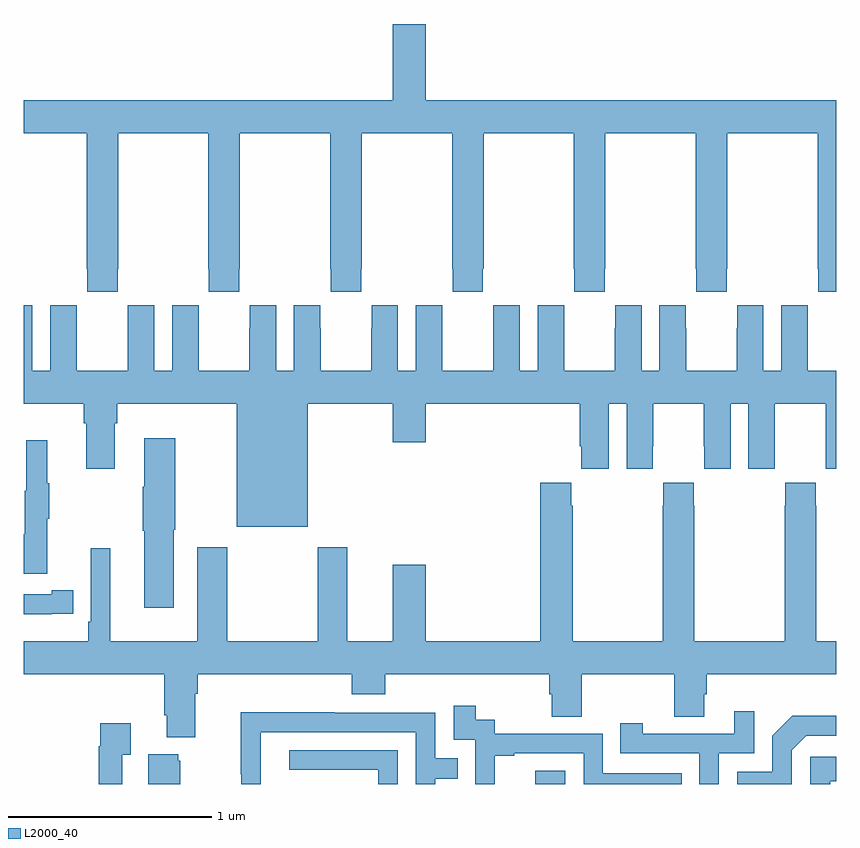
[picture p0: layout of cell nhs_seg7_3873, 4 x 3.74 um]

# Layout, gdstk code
import gdstk
lib = gdstk.Library(unit=1e-6, precision=1e-09)
def R(c, l, rs):  # rectangles x0, y0, x1, y1
    for r in rs: c.add(gdstk.rectangle(r[:2], r[2:], *l))
def P(c, l, *ps):  # polygons
    for p in ps: c.add(gdstk.Polygon(p, *l))
L2000_40 = (2000, 40)

nhs_seg7_3873 = lib.new_cell('nhs_seg7_3873')
R(nhs_seg7_3873, L2000_40, [(357.519,1076,357.666,1076.065)])
P(nhs_seg7_3873, L2000_40, [(355.461,1078.537),(355.464,1078.537),(355.464,1079.204),(355.909,1079.204),(355.909,1078.537),(355.911,1078.537),(355.911,1078.425),(356.061,1078.425),(356.061,1078.537),(356.064,1078.537),(356.064,1079.204),(356.509,1079.204),(356.509,1078.537),(356.511,1078.537),(356.511,1078.425),(356.661,1078.425),(356.661,1078.537),(356.664,1078.537),(356.664,1079.204),(357.109,1079.204),(357.109,1078.537),(357.111,1078.537),(357.111,1078.425),(357.261,1078.425),(357.261,1078.537),(357.264,1078.537),(357.264,1079.204),(357.709,1079.204),(357.709,1078.537),(357.711,1078.537),(357.711,1078.425),(357.861,1078.425),(357.861,1078.537),(357.864,1078.537),(357.864,1079.204),(358.309,1079.204),(358.309,1078.537),(358.311,1078.537),(358.311,1078.425),(358.461,1078.425),(358.461,1078.537),(358.464,1078.537),(358.464,1079.204),(358.909,1079.204),(358.909,1078.537),(358.911,1078.537),(358.911,1078.425),(359,1078.425),(359,1079.368),(356.98,1079.368),(356.98,1079.743),(356.816,1079.743),(356.816,1079.368),(355,1079.368),(355,1079.204),(355.309,1079.204),(355.309,1078.537),(355.311,1078.537),(355.311,1078.425),(355.461,1078.425)],
  [(356.398,1077.872),(356.816,1077.872),(356.816,1077.684),(356.98,1077.684),(356.98,1077.872),(357.737,1077.872),(357.737,1077.664),(357.746,1077.664),(357.746,1077.552),(357.88,1077.552),(357.88,1077.872),(357.968,1077.872),(357.968,1077.552),(358.098,1077.552),(358.098,1077.664),(358.099,1077.664),(358.099,1077.872),(358.349,1077.872),(358.349,1077.664),(358.35,1077.664),(358.35,1077.552),(358.48,1077.552),(358.48,1077.872),(358.568,1077.872),(358.568,1077.552),(358.698,1077.552),(358.698,1077.664),(358.699,1077.664),(358.699,1077.872),(358.949,1077.872),(358.949,1077.664),(358.95,1077.664),(358.95,1077.552),(359,1077.552),(359,1078.036),(358.861,1078.036),(358.861,1078.244),(358.86,1078.244),(358.86,1078.357),(358.73,1078.357),(358.73,1078.036),(358.642,1078.036),(358.642,1078.357),(358.512,1078.357),(358.512,1078.244),(358.511,1078.244),(358.511,1078.036),(358.261,1078.036),(358.261,1078.244),(358.26,1078.244),(358.26,1078.357),(358.13,1078.357),(358.13,1078.036),(358.042,1078.036),(358.042,1078.357),(357.912,1078.357),(357.912,1078.244),(357.911,1078.244),(357.911,1078.036),(357.661,1078.036),(357.661,1078.244),(357.66,1078.244),(357.66,1078.357),(357.53,1078.357),(357.53,1078.036),(357.442,1078.036),(357.442,1078.357),(357.312,1078.357),(357.312,1078.244),(357.311,1078.244),(357.311,1078.036),(357.061,1078.036),(357.061,1078.244),(357.06,1078.244),(357.06,1078.357),(356.93,1078.357),(356.93,1078.036),(356.842,1078.036),(356.842,1078.357),(356.712,1078.357),(356.712,1078.244),(356.711,1078.244),(356.711,1078.036),(356.461,1078.036),(356.461,1078.244),(356.46,1078.244),(356.46,1078.357),(356.33,1078.357),(356.33,1078.036),(356.242,1078.036),(356.242,1078.357),(356.112,1078.357),(356.112,1078.244),(356.111,1078.244),(356.111,1078.036),(355.861,1078.036),(355.861,1078.244),(355.86,1078.244),(355.86,1078.357),(355.73,1078.357),(355.73,1078.036),(355.642,1078.036),(355.642,1078.357),(355.512,1078.357),(355.512,1078.244),(355.511,1078.244),(355.511,1078.036),(355.261,1078.036),(355.261,1078.244),(355.26,1078.244),(355.26,1078.357),(355.13,1078.357),(355.13,1078.036),(355.042,1078.036),(355.042,1078.357),(355,1078.357),(355,1077.872),(355.295,1077.872),(355.295,1077.776),(355.307,1077.776),(355.307,1077.552),(355.447,1077.552),(355.447,1077.776),(355.46,1077.776),(355.46,1077.872),(356.048,1077.872),(356.048,1077.266),(356.398,1077.266)],
  [(355.738,1077.253),(355.746,1077.253),(355.746,1077.703),(355.592,1077.703),(355.592,1077.464),(355.585,1077.464),(355.585,1077.247),(355.592,1077.247),(355.592,1076.868),(355.738,1076.868)],
  [(355.115,1077.307),(355.126,1077.307),(355.126,1077.481),(355.115,1077.481),(355.115,1077.694),(355.012,1077.694),(355.012,1077.444),(355.005,1077.444),(355.005,1077.23),(355,1077.23),(355,1077.036),(355.115,1077.036)],
  [(355.843,1076.444),(355.856,1076.444),(355.856,1076.54),(356.615,1076.54),(356.615,1076.441),(356.78,1076.441),(356.78,1076.54),(357.587,1076.54),(357.587,1076.442),(357.599,1076.442),(357.599,1076.332),(357.747,1076.332),(357.747,1076.54),(358.204,1076.54),(358.204,1076.332),(358.351,1076.332),(358.351,1076.442),(358.364,1076.442),(358.364,1076.54),(359,1076.54),(359,1076.704),(358.902,1076.704),(358.902,1077.371),(358.899,1077.371),(358.899,1077.484),(358.749,1077.484),(358.749,1077.371),(358.747,1077.371),(358.747,1076.704),(358.302,1076.704),(358.302,1077.371),(358.299,1077.371),(358.299,1077.484),(358.149,1077.484),(358.149,1077.371),(358.147,1077.371),(358.147,1076.704),(357.702,1076.704),(357.702,1077.371),(357.695,1077.371),(357.695,1077.484),(357.542,1077.484),(357.542,1076.704),(356.98,1076.704),(356.98,1077.079),(356.816,1077.079),(356.816,1076.704),(356.593,1076.704),(356.593,1077.166),(356.446,1077.166),(356.446,1076.704),(356.001,1076.704),(356.001,1077.166),(355.853,1077.166),(355.853,1076.704),(355.426,1076.704),(355.426,1077.16),(355.329,1077.16),(355.329,1076.8),(355.316,1076.8),(355.316,1076.704),(355,1076.704),(355,1076.54),(355.691,1076.54),(355.691,1076.338),(355.703,1076.338),(355.703,1076.231),(355.843,1076.231)],
  [(355.136,1076.838),(355.244,1076.838),(355.244,1076.954),(355.136,1076.954),(355.136,1076.934),(355,1076.934),(355,1076.837),(355.136,1076.837)],
  [(357.32,1076.139),(357.415,1076.139),(357.415,1076.151),(357.756,1076.151),(357.756,1076),(358.241,1076),(358.241,1076.052),(357.852,1076.052),(357.852,1076.247),(357.318,1076.247),(357.318,1076.316),(357.226,1076.316),(357.226,1076.386),(357.117,1076.386),(357.117,1076.217),(357.222,1076.217),(357.222,1076),(357.32,1076)],
  [(358.422,1076.151),(358.596,1076.151),(358.596,1076.359),(358.499,1076.359),(358.499,1076.247),(358.048,1076.247),(358.048,1076.299),(357.937,1076.299),(357.937,1076.151),(358.326,1076.151),(358.326,1076),(358.422,1076)],
  [(356.166,1076.256),(356.931,1076.256),(356.931,1076),(357.027,1076),(357.027,1076.026),(357.137,1076.026),(357.137,1076.127),(357.027,1076.127),(357.027,1076.352),(356.531,1076.352),(356.531,1076.354),(356.068,1076.354),(356.068,1076.047),(356.07,1076.047),(356.07,1076),(356.166,1076)],
  [(358.782,1076.166),(358.854,1076.238),(359,1076.238),(359,1076.336),(358.784,1076.336),(358.686,1076.238),(358.686,1076.061),(358.512,1076.061),(358.512,1076),(358.782,1076)],
  [(355.485,1076.143),(355.525,1076.143),(355.525,1076.299),(355.377,1076.299),(355.377,1076.186),(355.369,1076.186),(355.369,1076),(355.485,1076)],
  [(356.841,1076.166),(356.307,1076.166),(356.307,1076.07),(356.745,1076.07),(356.745,1076),(356.841,1076)],
  [(355.771,1076.115),(355.76,1076.115),(355.76,1076.146),(355.613,1076.146),(355.613,1076),(355.771,1076)],
  [(358.97,1076.013),(359,1076.013),(359,1076.134),(358.872,1076.134),(358.872,1076),(358.97,1076)])

lib.write_gds('nhs_seg7_3873.gds')
